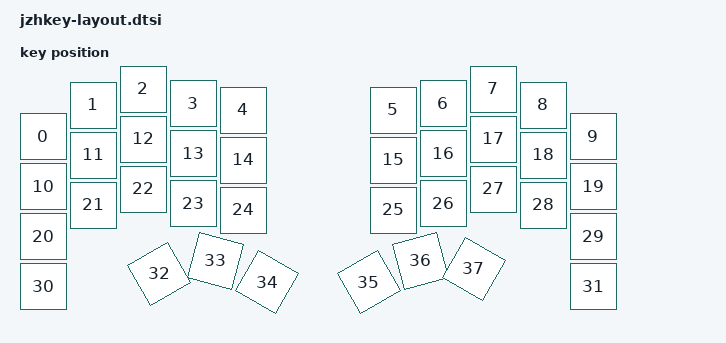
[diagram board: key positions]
#include <physical_layouts.dtsi>

/ {
    jzhkey_layout: jzhkey_layout {
        compatible = "zmk,physical-layout";
        display-name = "Default";

        kscan = <&kscan0>;
        transform = <&matrix_transform0>;

        keys  //                     w   h    x    y     rot    rx    ry
            = <&key_physical_attrs 100 100   15   95       0     0     0>
            , <&key_physical_attrs 100 100  115   32       0     0     0>
            , <&key_physical_attrs 100 100  215    0       0     0     0>
            , <&key_physical_attrs 100 100  315   29       0     0     0>
            , <&key_physical_attrs 100 100  415   42       0     0     0>
            , <&key_physical_attrs 100 100  715   42       0     0     0>
            , <&key_physical_attrs 100 100  815   29       0     0     0>
            , <&key_physical_attrs 100 100  915    0       0     0     0>
            , <&key_physical_attrs 100 100 1015   32       0     0     0>
            , <&key_physical_attrs 100 100 1115   95       0     0     0>
            , <&key_physical_attrs 100 100   15  195       0     0     0>
            , <&key_physical_attrs 100 100  115  132       0     0     0>
            , <&key_physical_attrs 100 100  215  100       0     0     0>
            , <&key_physical_attrs 100 100  315  129       0     0     0>
            , <&key_physical_attrs 100 100  415  142       0     0     0>
            , <&key_physical_attrs 100 100  715  142       0     0     0>
            , <&key_physical_attrs 100 100  815  129       0     0     0>
            , <&key_physical_attrs 100 100  915  100       0     0     0>
            , <&key_physical_attrs 100 100 1015  132       0     0     0>
            , <&key_physical_attrs 100 100 1115  195       0     0     0>
            , <&key_physical_attrs 100 100   15  295       0     0     0>
            , <&key_physical_attrs 100 100  115  232       0     0     0>
            , <&key_physical_attrs 100 100  215  200       0     0     0>
            , <&key_physical_attrs 100 100  315  229       0     0     0>
            , <&key_physical_attrs 100 100  415  242       0     0     0>
            , <&key_physical_attrs 100 100  715  242       0     0     0>
            , <&key_physical_attrs 100 100  815  229       0     0     0>
            , <&key_physical_attrs 100 100  915  200       0     0     0>
            , <&key_physical_attrs 100 100 1015  232       0     0     0>
            , <&key_physical_attrs 100 100 1115  295       0     0     0>
            , <&key_physical_attrs 100 100   15  395       0     0     0>
            , <&key_physical_attrs 100 100 1115  395       0     0     0>
            , <&key_physical_attrs 100 100    0  455 (-3000)    15     0>
            , <&key_physical_attrs 100 100  345  355    1500   445   455>
            , <&key_physical_attrs 100 100  445  355    3000   445   455>
            , <&key_physical_attrs 100 100  685  355 (-3000)   785   455>
            , <&key_physical_attrs 100 100  785  355 (-1500)   785   455>
            , <&key_physical_attrs 100 100  835  295    3000   785   455>
            ;
    };
};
